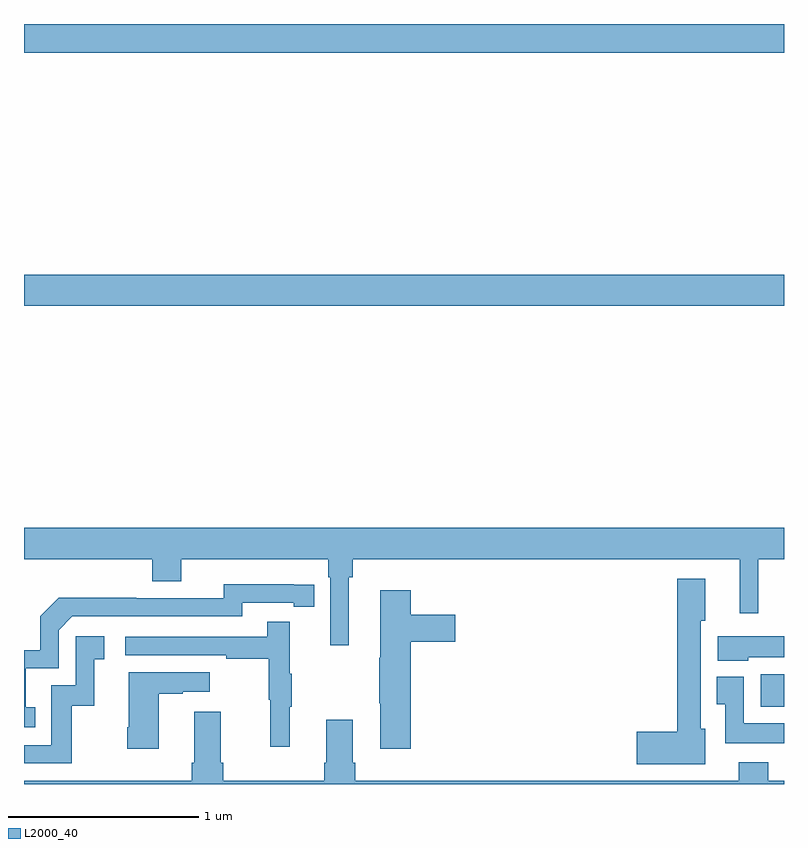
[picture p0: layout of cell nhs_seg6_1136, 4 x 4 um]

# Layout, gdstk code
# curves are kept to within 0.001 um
import gdstk
lib = gdstk.Library(unit=1e-6, precision=1e-09)
def R(c, l, rs):  # rectangles x0, y0, x1, y1
    for r in rs: c.add(gdstk.rectangle(r[:2], r[2:], *l))
def P(c, l, *ps):  # polygons
    for p in ps: c.add(gdstk.Polygon(p, *l))
L2000_40 = (2000, 40)

nhs_seg6_1136 = lib.new_cell('nhs_seg6_1136')
R(nhs_seg6_1136, L2000_40, [(184.877,931.907,185,932.077), (181,934.016,185,934.18), (181,935.348,185,935.5)])
P(nhs_seg6_1136, L2000_40, [(182.71,932.588),(182.729,932.588),(182.729,932.684),(184.766,932.684),(184.766,932.4),(184.865,932.4),(184.865,932.684),(185,932.684),(185,932.848),(181,932.848),(181,932.684),(181.676,932.684),(181.676,932.567),(181.828,932.567),(181.828,932.684),(182.6,932.684),(182.6,932.588),(182.613,932.588),(182.613,932.229),(182.71,932.229)],
  [(184.585,931.791),(184.561,931.791),(184.561,932.358),(184.585,932.358),(184.585,932.581),(184.439,932.581),(184.439,931.775),(184.224,931.775),(184.224,931.604),(184.585,931.604)],
  [(181.058,931.905),(181.009,931.905),(181.009,932.109),(181.182,932.109),(181.182,932.31),(181.254,932.382),(182.148,932.382),(182.148,932.454),(182.42,932.454),(182.42,932.434),(182.528,932.434),(182.528,932.55),(182.052,932.551),(182.052,932.478),(181.592,932.478),(181.592,932.48),(181.184,932.48),(181.086,932.382),(181.086,932.205),(181,932.205),(181,931.8),(181.058,931.8)],
  [(183.035,932.249),(183.271,932.249),(183.271,932.391),(183.035,932.391),(183.035,932.521),(182.876,932.521),(182.876,932.165),(182.869,932.165),(182.869,931.924),(182.876,931.924),(182.876,931.686),(183.035,931.686)],
  [(182.399,931.907),(182.41,931.907),(182.41,932.081),(182.399,932.081),(182.399,932.353),(182.281,932.353),(182.281,932.274),(181.533,932.274),(181.533,932.178),(182.065,932.178),(182.065,932.158),(182.289,932.158),(182.289,931.944),(182.296,931.944),(182.296,931.695),(182.399,931.695)],
  [(184.812,932.168),(185,932.168),(185,932.278),(184.65,932.278),(184.65,932.15),(184.812,932.15)],
  [(181.252,931.911),(181.37,931.911),(181.37,932.157),(181.423,932.157),(181.423,932.278),(181.272,932.278),(181.272,932.019),(181.143,932.019),(181.143,931.704),(181,931.704),(181,931.608),(181.252,931.608)],
  [(181.708,931.975),(181.835,931.975),(181.835,931.985),(181.978,931.985),(181.978,932.089),(181.55,932.089),(181.55,931.798),(181.543,931.798),(181.543,931.686),(181.708,931.686)],
  [(185,931.819),(184.788,931.819),(184.788,932.065),(184.646,932.065),(184.646,931.921),(184.691,931.921),(184.691,931.715),(185,931.715)],
  [(185,931.516),(184.916,931.516),(184.916,931.615),(184.763,931.615),(184.763,931.516),(182.744,931.516),(182.744,931.612),(182.731,931.612),(182.731,931.837),(182.591,931.837),(182.591,931.612),(182.579,931.612),(182.579,931.516),(182.048,931.516),(182.048,931.612),(182.035,931.612),(182.035,931.879),(181.895,931.879),(181.895,931.612),(181.883,931.612),(181.883,931.516),(181,931.516),(181,931.5),(185,931.5)])

lib.write_gds('nhs_seg6_1136.gds')
